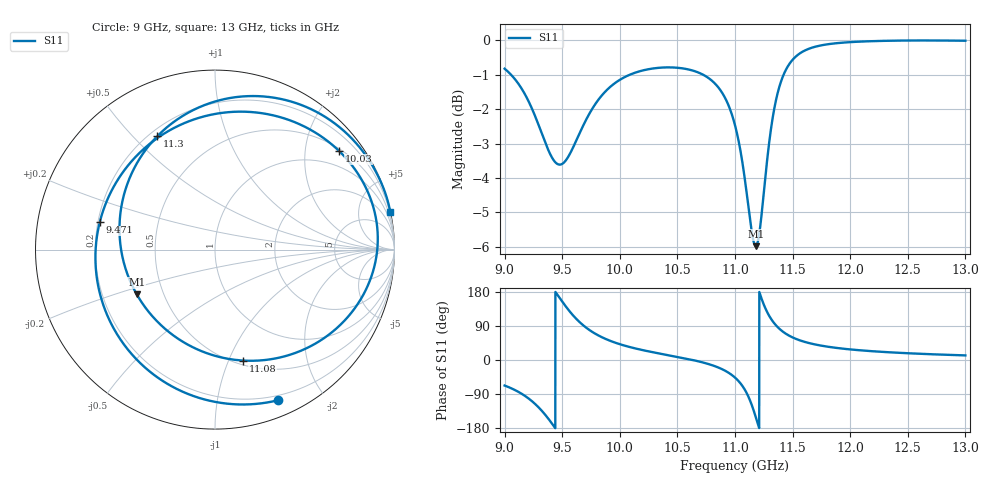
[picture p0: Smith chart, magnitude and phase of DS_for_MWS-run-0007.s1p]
! TOUCHSTONE file generated by CST DESIGN STUDIO
! Date and time: Tue Feb  4 18:41:42 2025
! Project name: C:\Work\MatlabApps\UnitCellOptimizationMatlab\CST\unitcell.cst
! Tree item: Tasks\Sweep1\SPara1\S-Parameters
! Header version: 2024
! Port assignment regex: !\s*Touchstone port\s*([0-9]+)\s*=\s*(CST MWS port|CST DES external port|CST DES block port)\s*(.+)\s* \(\"(.*)\"\)(\s*mode\s*([0-9]+))?.*
! Touchstone port assignment:
! Touchstone port 1 = CST DES external port 1 ("")
# GHz S MA R 50
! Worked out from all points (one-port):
!   4001 points, 9 GHz to 13 GHz, reference 50 ohm
!   lowest |S11| = -6.0 dB at 11.18 GHz (marker M1), VSWR 3.02, Z = 17.6 - j11.7 ohm
!   |S11| at or under -10 dB: nowhere
!   S11 on the Smith chart (normalised r, x): 9 GHz: 0.15, -1.49; 9.471 GHz: 0.21, +0.11; 10.03 GHz: 0.55, +2.76; 11.08 GHz: 0.54, -1.13; 11.3 GHz: 0.23, +0.59; 13 GHz: 0.05, +9.40
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9  0.9096 -67.4
9.147  0.8514 -88.9
9.254  0.784 -113.0
9.376  0.6949 -153.5
9.471  0.66 166.6
9.5  0.6614 154.2
9.593  0.698 118.1
9.689  0.7559 89.9
9.836  0.8287 61.4
10  0.8763 41.7
10.034  0.8829 38.6
10.241  0.9075 23.3
10.5  0.9125 8.2
10.82  0.8675 -15.7
10.921  0.8204 -29.4
11  0.7529 -46.4
11.08  0.6379 -75.7
11.131  0.5482 -107.1
11.18  0.5022 -150.4
11.234  0.5649 158.9
11.296  0.7089 117.0
11.334  0.7841 99.5
11.376  0.8456 85.1
11.5  0.9372 59.6
11.691  0.9785 41.3
12  0.9942 27.9
12.5  0.9996 17.8
13  0.9988 12.1
